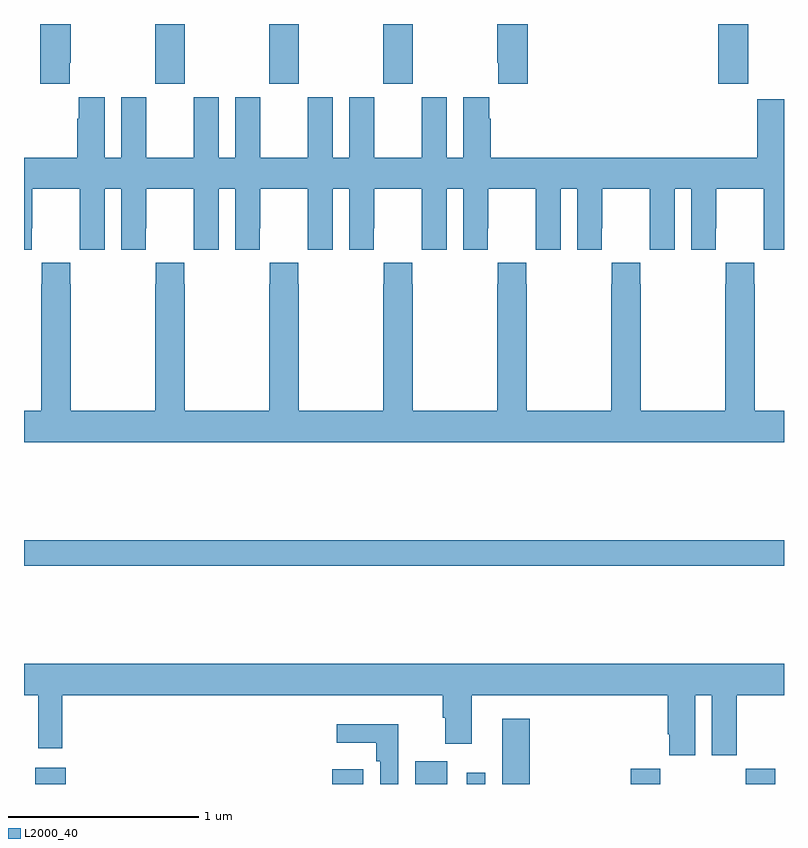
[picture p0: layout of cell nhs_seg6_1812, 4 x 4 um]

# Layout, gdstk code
import gdstk
lib = gdstk.Library(unit=1e-6, precision=1e-09)
def R(c, l, rs):  # rectangles x0, y0, x1, y1
    for r in rs: c.add(gdstk.rectangle(r[:2], r[2:], *l))
def A(c, l, x, y, w, h, nx, ny, dx, dy):  # array of equal rectangles
    R(c, l, [(x+i*dx, y+j*dy, x+i*dx+w, y+j*dy+h) for i in range(nx) for j in range(ny)])
def P(c, l, *ps):  # polygons
    for p in ps: c.add(gdstk.Polygon(p, *l))
L2000_40 = (2000, 40)

nhs_seg6_1812 = lib.new_cell('nhs_seg6_1812')
A(nhs_seg6_1812, L2000_40, 219.691, 985.185, 0.155, 0.315, 3, 1, 0.6, 0)
R(nhs_seg6_1812, L2000_40, [(219.059,981.5,219.221,981.586), (220.622,981.5,220.786,981.577), (221.06,981.5,221.227,981.619), (221.331,981.5,221.427,981.559), (221.516,981.5,221.663,981.844), (222.194,981.5,222.349,981.58), (222.799,981.5,222.954,981.58), (219,982.648,223,982.784), (222.653,985.185,222.813,985.5)])
P(nhs_seg6_1812, L2000_40, [(221.651,985.5),(221.491,985.5),(221.491,985.297),(221.495,985.297),(221.495,985.185),(221.651,985.185)],
  [(219.241,985.297),(219.246,985.297),(219.246,985.5),(219.086,985.5),(219.086,985.185),(219.241,985.185)],
  [(221.456,985.001),(221.449,985.001),(221.449,985.114),(221.312,985.114),(221.312,984.796),(221.224,984.796),(221.224,985.114),(221.093,985.114),(221.093,984.796),(220.843,984.796),(220.843,985.114),(220.712,985.114),(220.712,984.796),(220.624,984.796),(220.624,985.114),(220.493,985.114),(220.493,984.796),(220.243,984.796),(220.243,985.114),(220.112,985.114),(220.112,984.796),(220.024,984.796),(220.024,985.114),(219.893,985.114),(219.893,984.796),(219.643,984.796),(219.643,985.114),(219.512,985.114),(219.512,984.796),(219.424,984.796),(219.424,985.114),(219.287,985.114),(219.287,985.001),(219.281,985.001),(219.281,984.796),(219,984.796),(219,984.312),(219.042,984.312),(219.042,984.424),(219.043,984.424),(219.043,984.632),(219.293,984.632),(219.293,984.424),(219.294,984.424),(219.294,984.312),(219.424,984.312),(219.424,984.632),(219.512,984.632),(219.512,984.312),(219.642,984.312),(219.642,984.424),(219.643,984.424),(219.643,984.632),(219.893,984.632),(219.893,984.424),(219.894,984.424),(219.894,984.312),(220.024,984.312),(220.024,984.632),(220.112,984.632),(220.112,984.312),(220.242,984.312),(220.242,984.424),(220.243,984.424),(220.243,984.632),(220.493,984.632),(220.493,984.424),(220.494,984.424),(220.494,984.312),(220.624,984.312),(220.624,984.632),(220.712,984.632),(220.712,984.312),(220.842,984.312),(220.842,984.424),(220.843,984.424),(220.843,984.632),(221.093,984.632),(221.093,984.424),(221.094,984.424),(221.094,984.312),(221.224,984.312),(221.224,984.632),(221.312,984.632),(221.312,984.312),(221.442,984.312),(221.442,984.424),(221.443,984.424),(221.443,984.632),(221.693,984.632),(221.693,984.424),(221.694,984.424),(221.694,984.312),(221.824,984.312),(221.824,984.632),(221.912,984.632),(221.912,984.312),(222.042,984.312),(222.042,984.424),(222.043,984.424),(222.043,984.632),(222.293,984.632),(222.293,984.424),(222.294,984.424),(222.294,984.312),(222.424,984.312),(222.424,984.632),(222.512,984.632),(222.512,984.312),(222.642,984.312),(222.642,984.424),(222.643,984.424),(222.643,984.632),(222.893,984.632),(222.893,984.424),(222.894,984.424),(222.894,984.312),(223,984.312),(223,985.105),(222.86,985.105),(222.86,984.796),(221.456,984.796)],
  [(219.243,984.131),(219.243,984.244),(219.093,984.244),(219.093,984.131),(219.091,984.131),(219.091,983.464),(219,983.464),(219,983.3),(223,983.3),(223,983.464),(222.846,983.464),(222.846,984.131),(222.843,984.131),(222.843,984.244),(222.693,984.244),(222.693,984.131),(222.691,984.131),(222.691,983.464),(222.246,983.464),(222.246,984.131),(222.243,984.131),(222.243,984.244),(222.093,984.244),(222.093,984.131),(222.091,984.131),(222.091,983.464),(221.646,983.464),(221.646,984.131),(221.643,984.131),(221.643,984.244),(221.493,984.244),(221.493,984.131),(221.491,984.131),(221.491,983.464),(221.046,983.464),(221.046,984.131),(221.043,984.131),(221.043,984.244),(220.893,984.244),(220.893,984.131),(220.891,984.131),(220.891,983.464),(220.446,983.464),(220.446,984.131),(220.443,984.131),(220.443,984.244),(220.293,984.244),(220.293,984.131),(220.291,984.131),(220.291,983.464),(219.846,983.464),(219.846,984.131),(219.843,984.131),(219.843,984.244),(219.693,984.244),(219.693,984.131),(219.691,984.131),(219.691,983.464),(219.246,983.464),(219.246,984.131)],
  [(222.532,981.968),(222.62,981.968),(222.62,981.651),(222.751,981.651),(222.751,981.968),(223,981.968),(223,982.132),(219,982.132),(219,981.968),(219.074,981.968),(219.074,981.687),(219.2,981.687),(219.2,981.968),(221.204,981.968),(221.204,981.848),(221.216,981.848),(221.216,981.711),(221.356,981.711),(221.356,981.968),(222.389,981.968),(222.389,981.763),(222.395,981.763),(222.395,981.651),(222.532,981.651)],
  [(220.971,981.814),(220.647,981.814),(220.647,981.716),(220.855,981.716),(220.855,981.62),(220.875,981.62),(220.875,981.5),(220.971,981.5)])

lib.write_gds('nhs_seg6_1812.gds')
